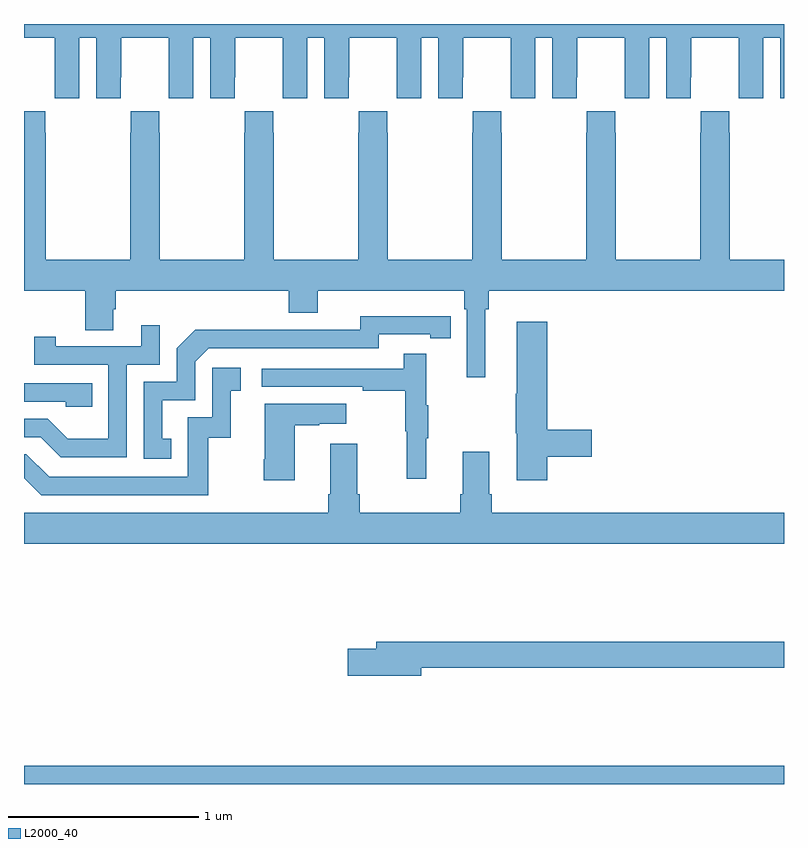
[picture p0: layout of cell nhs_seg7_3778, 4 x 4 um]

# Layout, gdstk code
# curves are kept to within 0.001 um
import gdstk
lib = gdstk.Library(unit=1e-6, precision=1e-09)
def R(c, l, rs):  # rectangles x0, y0, x1, y1
    for r in rs: c.add(gdstk.rectangle(r[:2], r[2:], *l))
def P(c, l, *ps):  # polygons
    for p in ps: c.add(gdstk.Polygon(p, *l))
L2000_40 = (2000, 40)

nhs_seg7_3778 = lib.new_cell('nhs_seg7_3778')
R(nhs_seg7_3778, L2000_40, [(351,1018,355,1018.096)])
P(nhs_seg7_3778, L2000_40, [(351,1021.928),(351.161,1021.928),(351.161,1021.72),(351.162,1021.72),(351.162,1021.608),(351.292,1021.608),(351.292,1021.928),(351.38,1021.928),(351.38,1021.608),(351.51,1021.608),(351.51,1021.72),(351.511,1021.72),(351.511,1021.928),(351.761,1021.928),(351.761,1021.72),(351.762,1021.72),(351.762,1021.608),(351.892,1021.608),(351.892,1021.928),(351.98,1021.928),(351.98,1021.608),(352.11,1021.608),(352.11,1021.72),(352.111,1021.72),(352.111,1021.928),(352.361,1021.928),(352.361,1021.72),(352.362,1021.72),(352.362,1021.608),(352.492,1021.608),(352.492,1021.928),(352.58,1021.928),(352.58,1021.608),(352.71,1021.608),(352.71,1021.72),(352.711,1021.72),(352.711,1021.928),(352.961,1021.928),(352.961,1021.72),(352.962,1021.72),(352.962,1021.608),(353.092,1021.608),(353.092,1021.928),(353.18,1021.928),(353.18,1021.608),(353.31,1021.608),(353.31,1021.72),(353.311,1021.72),(353.311,1021.928),(353.561,1021.928),(353.561,1021.72),(353.562,1021.72),(353.562,1021.608),(353.692,1021.608),(353.692,1021.928),(353.78,1021.928),(353.78,1021.608),(353.91,1021.608),(353.91,1021.72),(353.911,1021.72),(353.911,1021.928),(354.161,1021.928),(354.161,1021.72),(354.162,1021.72),(354.162,1021.608),(354.292,1021.608),(354.292,1021.928),(354.38,1021.928),(354.38,1021.608),(354.51,1021.608),(354.51,1021.72),(354.511,1021.72),(354.511,1021.928),(354.761,1021.928),(354.761,1021.72),(354.762,1021.72),(354.762,1021.608),(354.892,1021.608),(354.892,1021.928),(354.98,1021.928),(354.98,1021.608),(355,1021.608),(355,1022),(351,1022)],
  [(351.561,1021.54),(351.561,1021.427),(351.559,1021.427),(351.559,1020.76),(351.114,1020.76),(351.114,1021.427),(351.111,1021.427),(351.111,1021.54),(351,1021.54),(351,1020.596),(351.322,1020.596),(351.322,1020.388),(351.469,1020.388),(351.469,1020.498),(351.482,1020.498),(351.482,1020.596),(352.394,1020.596),(352.394,1020.479),(352.546,1020.479),(352.546,1020.596),(353.318,1020.596),(353.318,1020.5),(353.331,1020.5),(353.331,1020.141),(353.428,1020.141),(353.428,1020.5),(353.447,1020.5),(353.447,1020.596),(355,1020.596),(355,1020.76),(354.714,1020.76),(354.714,1021.427),(354.711,1021.427),(354.711,1021.54),(354.561,1021.54),(354.561,1021.427),(354.559,1021.427),(354.559,1020.76),(354.114,1020.76),(354.114,1021.427),(354.111,1021.427),(354.111,1021.54),(353.961,1021.54),(353.961,1021.427),(353.959,1021.427),(353.959,1020.76),(353.514,1020.76),(353.514,1021.427),(353.511,1021.427),(353.511,1021.54),(353.361,1021.54),(353.361,1021.427),(353.359,1021.427),(353.359,1020.76),(352.914,1020.76),(352.914,1021.427),(352.911,1021.427),(352.911,1021.54),(352.761,1021.54),(352.761,1021.427),(352.759,1021.427),(352.759,1020.76),(352.314,1020.76),(352.314,1021.427),(352.311,1021.427),(352.311,1021.54),(352.161,1021.54),(352.161,1021.427),(352.159,1021.427),(352.159,1020.76),(351.714,1020.76),(351.714,1021.427),(351.711,1021.427),(351.711,1021.54)],
  [(351.776,1019.817),(351.727,1019.817),(351.727,1020.021),(351.9,1020.021),(351.9,1020.222),(351.972,1020.294),(352.866,1020.294),(352.866,1020.366),(353.138,1020.366),(353.138,1020.346),(353.246,1020.346),(353.246,1020.462),(352.77,1020.463),(352.77,1020.39),(352.31,1020.39),(352.31,1020.392),(351.902,1020.392),(351.804,1020.294),(351.804,1020.117),(351.63,1020.117),(351.63,1019.712),(351.776,1019.712)],
  [(353.753,1019.722),(353.989,1019.722),(353.989,1019.864),(353.753,1019.864),(353.753,1020.433),(353.594,1020.433),(353.594,1020.053),(353.587,1020.053),(353.587,1019.847),(353.594,1019.847),(353.594,1019.598),(353.753,1019.598)],
  [(351.54,1020.207),(351.714,1020.207),(351.714,1020.415),(351.617,1020.415),(351.617,1020.303),(351.166,1020.303),(351.166,1020.355),(351.055,1020.355),(351.055,1020.207),(351.444,1020.207),(351.444,1019.818),(351.23,1019.818),(351.126,1019.922),(351,1019.922),(351,1019.826),(351.089,1019.826),(351.194,1019.721),(351.54,1019.721)],
  [(353.117,1019.819),(353.128,1019.819),(353.128,1019.993),(353.117,1019.993),(353.117,1020.265),(352.999,1020.265),(352.999,1020.186),(352.251,1020.186),(352.251,1020.09),(352.783,1020.09),(352.783,1020.07),(353.007,1020.07),(353.007,1019.856),(353.014,1019.856),(353.014,1019.607),(353.117,1019.607)],
  [(351.97,1019.823),(352.088,1019.823),(352.088,1020.069),(352.141,1020.069),(352.141,1020.19),(351.99,1020.19),(351.99,1019.931),(351.861,1019.931),(351.861,1019.616),(351.132,1019.616),(351.012,1019.736),(351,1019.736),(351,1019.61),(351.09,1019.52),(351.97,1019.52)],
  [(351.359,1020.108),(351,1020.108),(351,1020.012),(351.219,1020.012),(351.219,1019.985),(351.359,1019.985)],
  [(352.426,1019.887),(352.553,1019.887),(352.553,1019.897),(352.696,1019.897),(352.696,1020.001),(352.268,1020.001),(352.268,1019.71),(352.261,1019.71),(352.261,1019.598),(352.426,1019.598)],
  [(355,1019.428),(353.462,1019.428),(353.462,1019.524),(353.449,1019.524),(353.449,1019.749),(353.309,1019.749),(353.309,1019.524),(353.297,1019.524),(353.297,1019.428),(352.766,1019.428),(352.766,1019.524),(352.753,1019.524),(352.753,1019.791),(352.613,1019.791),(352.613,1019.524),(352.601,1019.524),(352.601,1019.428),(351,1019.428),(351,1019.264),(355,1019.264)],
  [(353.092,1018.612),(355,1018.612),(355,1018.748),(352.853,1018.748),(352.853,1018.712),(352.704,1018.712),(352.704,1018.57),(353.092,1018.57)])

lib.write_gds('nhs_seg7_3778.gds')
